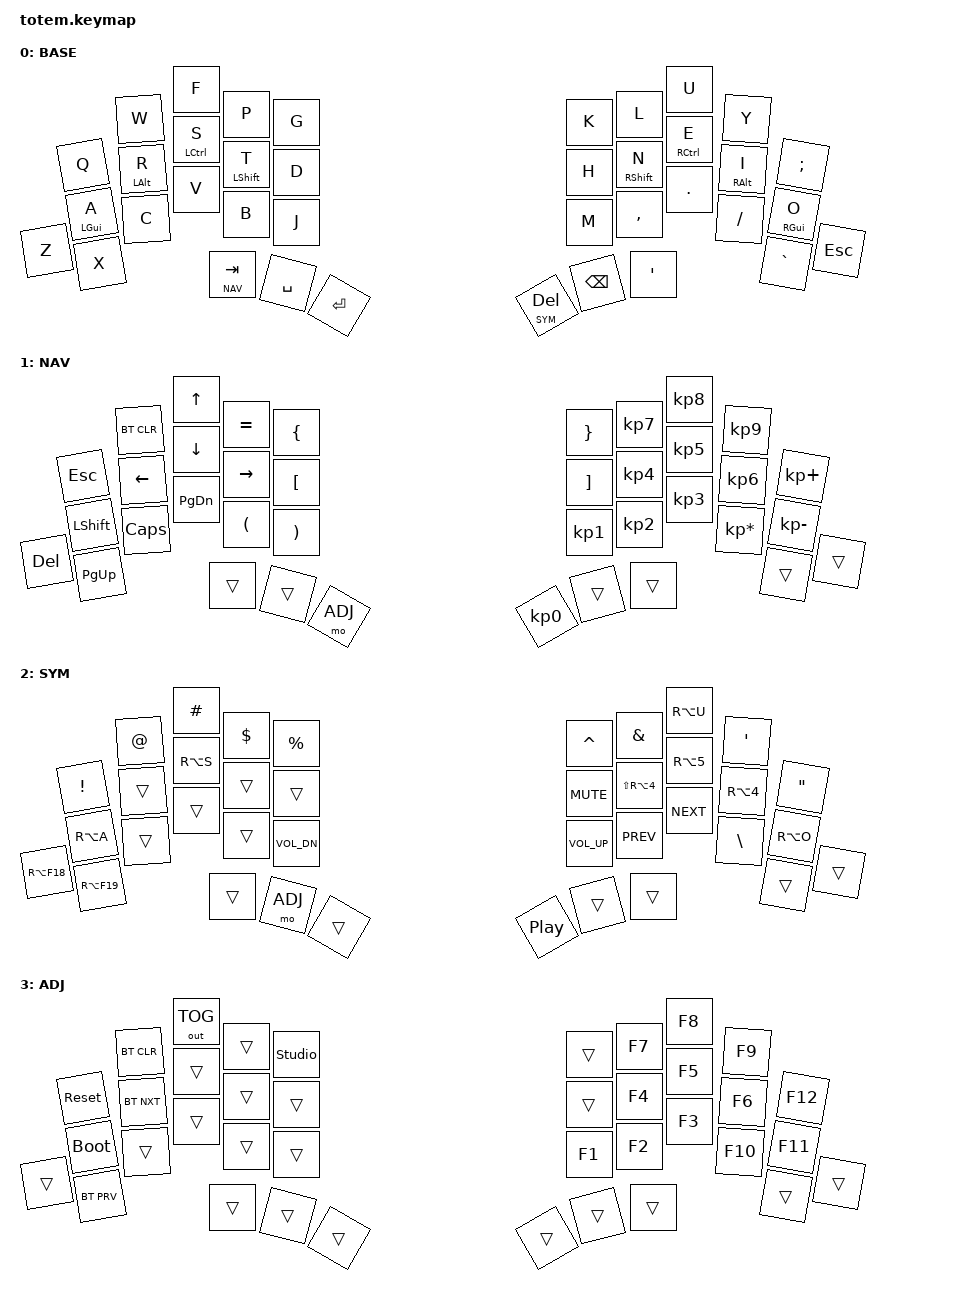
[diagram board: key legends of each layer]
//
//                                                        ▀▀▀▀▀     ▀▀▀▀▀          ▀▀█▀▀
//                                                        ▄▀▀▀▄  ▄  ▄▀▀▀▄  ▄  ▄▀▀▀▄  █  ▄▀▀▀▄
//                                                        █   █  █  █   █  █  █   █  █  █   █
//                                                         ▀▀▀   █   ▀▀▀   █   ▀▀▀   ▀   ▀▀▀
//                                                               █      ▄▄▄█▄▄▄    █   █  
//                                                               ▀      █  █  █     █▄█
//                                                             ▀▀▀▀▀    █  █  █      ▀
//                                                                      ▀  ▀  ▀
//
// ▄▄▄▄▄▄▄▄▄▄▄▄▄▄▄▄▄▄▄▄▄▄▄▄▄▄▄▄▄▄▄▄▄▄▄▄▄▄▄▄▄▄▄▄▄▄▄▄▄▄▄▄▄▄▄▄▄▄▄▄▄▄▄▄▄▄▄▄▄▄▄▄▄▄▄▄▄▄▄▄▄▄▄▄▄▄▄▄▄▄▄▄▄▄▄▄▄▄▄▄▄▄▄▄▄▄▄▄▄▄▄▄▄▄▄▄▄▄▄▄▄▄▄▄▄▄▄▄▄▄▄▄▄▄▄▄▄▄▄▄▄▄▄▄▄▄▄▄▄
       

#include <behaviors.dtsi>
#include <dt-bindings/zmk/keys.h>
#include <dt-bindings/zmk/bt.h>
#include <dt-bindings/zmk/outputs.h>

#define BASE 0
#define NAV  1
#define SYM  2
#define ADJ  3

&mt {
  quick-tap-ms = <100>;
  global-quick-tap;
  flavor = "balanced";
  tapping-term-ms = <220>;
};

/ {
    combos {
            compatible = "zmk,combos";
            combo_esc {
                timeout-ms = <50>;
                key-positions = <0 1>;
                bindings = <&kp ESC>;
            };
    };

    keymap {
                compatible = "zmk,keymap";
// ▄▄▄▄▄▄▄▄▄▄▄▄▄▄▄▄▄▄▄▄▄▄▄▄▄▄▄▄▄▄▄▄▄▄▄▄▄▄▄▄▄▄▄▄▄▄▄▄▄▄▄▄▄▄▄▄▄▄▄▄▄▄▄▄▄▄▄▄▄▄▄▄▄▄▄▄▄▄▄▄▄▄▄▄▄▄▄▄▄▄▄▄▄▄▄▄▄▄▄▄▄▄▄▄▄▄▄▄▄▄▄▄▄▄▄▄▄▄▄▄▄▄▄▄▄▄▄▄▄▄▄▄▄▄▄▄▄▄▄▄▄▄▄▄▄▄▄▄▄

                base_layer {
// ┏━━━━━━━━━━━━━━━━━━━━━━━━━━━━━━━━━━━━━━━┓
label= "BASE"                              ;
// ┗━━━━━━━━━━━━━━━━━━━━━━━━━━━━━━━━━━━━━━━┛
//             ┏━━━━━━━━━━━┳━━━━━━━━━━━┳━━━━━━━━━━━┳━━━━━━━━━━━┳━━━━━━━━━━━┓   ┏━━━━━━━━━━━┳━━━━━━━━━━━┳━━━━━━━━━━━┳━━━━━━━━━━━┳━━━━━━━━━━━┓
//             ┃     Q     ┃     W     ┃     F     ┃     P     ┃     G     ┃   ┃     K     ┃     L     ┃     U     ┃     Y     ┃  ; and :  ┃
//             ┣━━━━━━━━━━━╋━━━━━━━━━━━╋━━━━━━━━━━━╋━━━━━━━━━━━╋━━━━━━━━━━━┫   ┣━━━━━━━━━━━╋━━━━━━━━━━━╋━━━━━━━━━━━╋━━━━━━━━━━━╋━━━━━━━━━━━┫
//             ┃     A     ┃     R     ┃     S     ┃     T     ┃     D     ┃   ┃     H     ┃     N     ┃     E     ┃     I     ┃     O     ┃
// ┏━━━━━━━━━━━╋━━━━━━━━━━━╋━━━━━━━━━━━╋━━━━━━━━━━━╋━━━━━━━━━━━╋━━━━━━━━━━━┫   ┣━━━━━━━━━━━╋━━━━━━━━━━━╋━━━━━━━━━━━╋━━━━━━━━━━━╋━━━━━━━━━━━╋━━━━━━━━━━━┓
// ┃  ` and ~  ┃     Z     ┃     X     ┃     C     ┃     V     ┃     B     ┃   ┃     J     ┃     M     ┃  , and <  ┃  . and >  ┃  / and ?  ┃  ' and "  ┃
// ┗━━━━━━━━━━━┻━━━━━━━━━━━┻━━━━━━━━━━━╋━━━━━━━━━━━╋━━━━━━━━━━━╋━━━━━━━━━━━┫   ┣━━━━━━━━━━━╋━━━━━━━━━━━╋━━━━━━━━━━━╋━━━━━━━━━━━┻━━━━━━━━━━━┻━━━━━━━━━━━┛
//                                     ┃    ESC    ┃ TAB & NAV ┃    SPC    ┃   ┃   ENTER   ┃ DEL & SYM ┃   BSPC    ┃
//                                     ┗━━━━━━━━━━━┻━━━━━━━━━━━┻━━━━━━━━━━━┛   ┗━━━━━━━━━━━┻━━━━━━━━━━━┻━━━━━━━━━━━┛
 bindings = <
// ╷           ╷           ╷           ╷           ╷           ╷           ╷   ╷           ╷           ╷           ╷           ╷           ╷           ╷

                &kp Q       &kp W       &kp F       &kp P       &kp G           &kp K       &kp L       &kp U       &kp Y       &kp SEMI
                &mt LGUI A  &mt LALT R  &mt LCTRL S &mt LSHFT T &kp D           &kp H       &mt RSHFT N &mt RCTRL E &mt RALT I  &mt RGUI O
                &kp Z       &kp X       &kp C       &kp V       &kp B           &kp J       &kp M       &kp COMMA   &kp DOT     &kp FSLH
    &kp GRAVE                           &kp ESC     &lt NAV TAB &kp SPACE       &kp RET     &lt SYM DEL &kp BSPC                            &kp SQT
                        >;
                };

// ▄▄▄▄▄▄▄▄▄▄▄▄▄▄▄▄▄▄▄▄▄▄▄▄▄▄▄▄▄▄▄▄▄▄▄▄▄▄▄▄▄▄▄▄▄▄▄▄▄▄▄▄▄▄▄▄▄▄▄▄▄▄▄▄▄▄▄▄▄▄▄▄▄▄▄▄▄▄▄▄▄▄▄▄▄▄▄▄▄▄▄▄▄▄▄▄▄▄▄▄▄▄▄▄▄▄▄▄▄▄▄▄▄▄▄▄▄▄▄▄▄▄▄▄▄▄▄▄▄▄▄▄▄▄▄▄▄▄▄▄▄▄▄▄▄▄▄▄▄


                nav_layer {
// ┏━━━━━━━━━━━━━━━━━━━━━━━━━━━━━━━━━━━━━━━┓
label= "NAV"                               ;
// ┗━━━━━━━━━━━━━━━━━━━━━━━━━━━━━━━━━━━━━━━┛
//             ┏━━━━━━━━━━━┳━━━━━━━━━━━┳━━━━━━━━━━━┳━━━━━━━━━━━┳━━━━━━━━━━━┓   ┏━━━━━━━━━━━┳━━━━━━━━━━━┳━━━━━━━━━━━┳━━━━━━━━━━━┳━━━━━━━━━━━┓
//             ┃    ESC    ┃ BT CLEAR  ┃     UP    ┃     =     ┃     {     ┃   ┃     }     ┃     7     ┃     8     ┃     9     ┃     +     ┃
//             ┣━━━━━━━━━━━╋━━━━━━━━━━━╋━━━━━━━━━━━╋━━━━━━━━━━━╋━━━━━━━━━━━┫   ┣━━━━━━━━━━━╋━━━━━━━━━━━╋━━━━━━━━━━━╋━━━━━━━━━━━╋━━━━━━━━━━━┫
//             ┃   SHIFT   ┃   LEFT    ┃    DOWN   ┃   RIGHT   ┃     [     ┃   ┃     ]     ┃     4     ┃     5     ┃     6     ┃     -     ┃
// ┏━━━━━━━━━━━╋━━━━━━━━━━━╋━━━━━━━━━━━╋━━━━━━━━━━━╋━━━━━━━━━━━╋━━━━━━━━━━━┫   ┣━━━━━━━━━━━╋━━━━━━━━━━━╋━━━━━━━━━━━╋━━━━━━━━━━━╋━━━━━━━━━━━╋━━━━━━━━━━━┓
// ┃           ┃    DEL    ┃   P UP    ┃  C LOCK   ┃  P DOWN   ┃     (     ┃   ┃     )     ┃     1     ┃     2     ┃     3     ┃     *     ┃           ┃
// ┗━━━━━━━━━━━┻━━━━━━━━━━━┻━━━━━━━━━━━╋━━━━━━━━━━━╋━━━━━━━━━━━╋━━━━━━━━━━━┫   ┣━━━━━━━━━━━╋━━━━━━━━━━━╋━━━━━━━━━━━╋━━━━━━━━━━━┻━━━━━━━━━━━┻━━━━━━━━━━━┛
//                                     ┃           ┃           ┃           ┃   ┃    ADJ    ┃     0     ┃           ┃
//                                     ┗━━━━━━━━━━━┻━━━━━━━━━━━┻━━━━━━━━━━━┛   ┗━━━━━━━━━━━┻━━━━━━━━━━━┻━━━━━━━━━━━┛
 bindings = <
// ╷           ╷           ╷           ╷           ╷           ╷           ╷   ╷           ╷           ╷           ╷           ╷           ╷           ╷

                &kp ESC     &bt BT_CLR  &kp UP      &kp EQUAL   &kp LBRC        &kp RBRC    &kp KP_N7   &kp KP_N8   &kp KP_N9   &kp KP_PLUS
                &kp LSHFT   &kp LEFT    &kp DOWN    &kp RIGHT   &kp LBKT        &kp RBKT    &kp KP_N4   &kp KP_N5   &kp KP_N6   &kp KP_MINUS
                &kp DEL     &kp PG_UP   &kp CAPS    &kp PG_DN   &kp LPAR        &kp RPAR    &kp KP_N1   &kp KP_N2   &kp KP_N3   &kp KP_MULTIPLY      
      &trans                            &trans      &trans      &trans          &mo ADJ     &kp KP_N0   &trans                                  &trans
                        >;
                };

// ▄▄▄▄▄▄▄▄▄▄▄▄▄▄▄▄▄▄▄▄▄▄▄▄▄▄▄▄▄▄▄▄▄▄▄▄▄▄▄▄▄▄▄▄▄▄▄▄▄▄▄▄▄▄▄▄▄▄▄▄▄▄▄▄▄▄▄▄▄▄▄▄▄▄▄▄▄▄▄▄▄▄▄▄▄▄▄▄▄▄▄▄▄▄▄▄▄▄▄▄▄▄▄▄▄▄▄▄▄▄▄▄▄▄▄▄▄▄▄▄▄▄▄▄▄▄▄▄▄▄▄▄▄▄▄▄▄▄▄▄▄▄▄▄▄▄▄▄▄


                sim_layer {
// ┏━━━━━━━━━━━━━━━━━━━━━━━━━━━━━━━━━━━━━━━┓
label= "SYM"                               ;
// ┗━━━━━━━━━━━━━━━━━━━━━━━━━━━━━━━━━━━━━━━┛
//             ┏━━━━━━━━━━━┳━━━━━━━━━━━┳━━━━━━━━━━━┳━━━━━━━━━━━┳━━━━━━━━━━━┓   ┏━━━━━━━━━━━┳━━━━━━━━━━━┳━━━━━━━━━━━┳━━━━━━━━━━━┳━━━━━━━━━━━┓
//             ┃     !     ┃     @     ┃     #     ┃     $     ┃     %     ┃   ┃     ˆ     ┃     &     ┃     Ü     ┃     '     ┃     "     ┃
//             ┣━━━━━━━━━━━╋━━━━━━━━━━━╋━━━━━━━━━━━╋━━━━━━━━━━━╋━━━━━━━━━━━┫   ┣━━━━━━━━━━━╋━━━━━━━━━━━╋━━━━━━━━━━━╋━━━━━━━━━━━╋━━━━━━━━━━━┫
//             ┃     Ä     ┃           ┃    SZ     ┃           ┃           ┃   ┃   MUTE    ┃   YEN     ┃   EURO    ┃  POUND    ┃     Ö     ┃
// ┏━━━━━━━━━━━╋━━━━━━━━━━━╋━━━━━━━━━━━╋━━━━━━━━━━━╋━━━━━━━━━━━╋━━━━━━━━━━━┫   ┣━━━━━━━━━━━╋━━━━━━━━━━━╋━━━━━━━━━━━╋━━━━━━━━━━━╋━━━━━━━━━━━╋━━━━━━━━━━━┓
// ┃           ┃  EMAIL1   ┃  EMAIL2   ┃           ┃           ┃           ┃   ┃   VOL-    ┃   VOL+    ┃   LAST    ┃   NEXT    ┃     \     ┃           ┃
// ┗━━━━━━━━━━━┻━━━━━━━━━━━┻━━━━━━━━━━━╋━━━━━━━━━━━╋━━━━━━━━━━━╋━━━━━━━━━━━┫   ┣━━━━━━━━━━━╋━━━━━━━━━━━╋━━━━━━━━━━━╋━━━━━━━━━━━┻━━━━━━━━━━━┻━━━━━━━━━━━┛
//                                     ┃           ┃           ┃    ADJ    ┃   ┃           ┃           ┃           ┃
//                                     ┗━━━━━━━━━━━┻━━━━━━━━━━━┻━━━━━━━━━━━┛   ┗━━━━━━━━━━━┻━━━━━━━━━━━┻━━━━━━━━━━━┛
 bindings = <
// ╷           ╷           ╷           ╷           ╷           ╷           ╷   ╷           ╷           ╷           ╷           ╷           ╷           ╷

                &kp EXCL    &kp AT      &kp HASH    &kp DLLR    &kp PRCNT       &kp CARET   &kp AMPS      &kp RA(U)   &kp SQT     &kp DQT       
                &kp RA(A)   &trans      &kp RA(S)   &trans      &trans          &kp C_MUTE  &kp LS(RA(N4)) &kp RA(N5) &kp RA(N4)  &kp RA(O) 
                &kp RA(F18) &kp RA(F19) &trans      &trans      &trans          &kp C_VOL_DN &kp C_VOL_UP &kp C_PREV  &kp C_NEXT  &kp BSLH
      &trans                            &trans      &trans      &mo ADJ         &trans      &kp C_PP      &trans                             &trans
                        >;
                };

// ▄▄▄▄▄▄▄▄▄▄▄▄▄▄▄▄▄▄▄▄▄▄▄▄▄▄▄▄▄▄▄▄▄▄▄▄▄▄▄▄▄▄▄▄▄▄▄▄▄▄▄▄▄▄▄▄▄▄▄▄▄▄▄▄▄▄▄▄▄▄▄▄▄▄▄▄▄▄▄▄▄▄▄▄▄▄▄▄▄▄▄▄▄▄▄▄▄▄▄▄▄▄▄▄▄▄▄▄▄▄▄▄▄▄▄▄▄▄▄▄▄▄▄▄▄▄▄▄▄▄▄▄▄▄▄▄▄▄▄▄▄▄▄▄▄▄▄▄▄


                adjust_layer {
// ┏━━━━━━━━━━━━━━━━━━━━━━━━━━━━━━━━━━━━━━━┓
label= "ADJ"                               ;
// ┗━━━━━━━━━━━━━━━━━━━━━━━━━━━━━━━━━━━━━━━┛
//             ┏━━━━━━━━━━━┳━━━━━━━━━━━┳━━━━━━━━━━━┳━━━━━━━━━━━┳━━━━━━━━━━━┓   ┏━━━━━━━━━━━┳━━━━━━━━━━━┳━━━━━━━━━━━┳━━━━━━━━━━━┳━━━━━━━━━━━┓
//             ┃   RESET   ┃ BT CLEAR  ┃  OUT TOG  ┃           ┃ ZMKSTUDIO ┃   ┃           ┃    F7     ┃    F8     ┃    F9     ┃    F12    ┃
//             ┣━━━━━━━━━━━╋━━━━━━━━━━━╋━━━━━━━━━━━╋━━━━━━━━━━━╋━━━━━━━━━━━┫   ┣━━━━━━━━━━━╋━━━━━━━━━━━╋━━━━━━━━━━━╋━━━━━━━━━━━╋━━━━━━━━━━━┫
//             ┃ BOOTLOAD  ┃ BT NEXT   ┃           ┃           ┃           ┃   ┃           ┃    F4     ┃    F5     ┃    F6     ┃    F11    ┃
// ┏━━━━━━━━━━━╋━━━━━━━━━━━╋━━━━━━━━━━━╋━━━━━━━━━━━╋━━━━━━━━━━━╋━━━━━━━━━━━┫   ┣━━━━━━━━━━━╋━━━━━━━━━━━╋━━━━━━━━━━━╋━━━━━━━━━━━╋━━━━━━━━━━━╋━━━━━━━━━━━┓
// ┃           ┃           ┃ BT PREV   ┃           ┃           ┃           ┃   ┃           ┃    F1     ┃    F2     ┃    F3     ┃    F10    ┃           ┃
// ┗━━━━━━━━━━━┻━━━━━━━━━━━┻━━━━━━━━━━━╋━━━━━━━━━━━╋━━━━━━━━━━━╋━━━━━━━━━━━┫   ┣━━━━━━━━━━━╋━━━━━━━━━━━╋━━━━━━━━━━━╋━━━━━━━━━━━┻━━━━━━━━━━━┻━━━━━━━━━━━┛
//                                     ┃           ┃           ┃           ┃   ┃           ┃           ┃           ┃
//                                     ┗━━━━━━━━━━━┻━━━━━━━━━━━┻━━━━━━━━━━━┛   ┗━━━━━━━━━━━┻━━━━━━━━━━━┻━━━━━━━━━━━┛
 bindings = <
// ╷           ╷           ╷           ╷           ╷           ╷           ╷   ╷           ╷           ╷           ╷           ╷           ╷           ╷

                &sys_reset  &bt BT_CLR  &out OUT_TOG &trans     &studio_unlock  &trans      &kp F7      &kp F8      &kp F9      &kp F12
                &bootloader &bt BT_NXT  &trans       &trans     &trans          &trans      &kp F4      &kp F5      &kp F6      &kp F11  
                &trans      &bt BT_PRV  &trans       &trans     &trans          &trans      &kp F1      &kp F2      &kp F3      &kp F10
    &trans                              &trans       &trans     &trans          &trans      &trans      &trans                              &trans
                        >;
                };
        };
};
